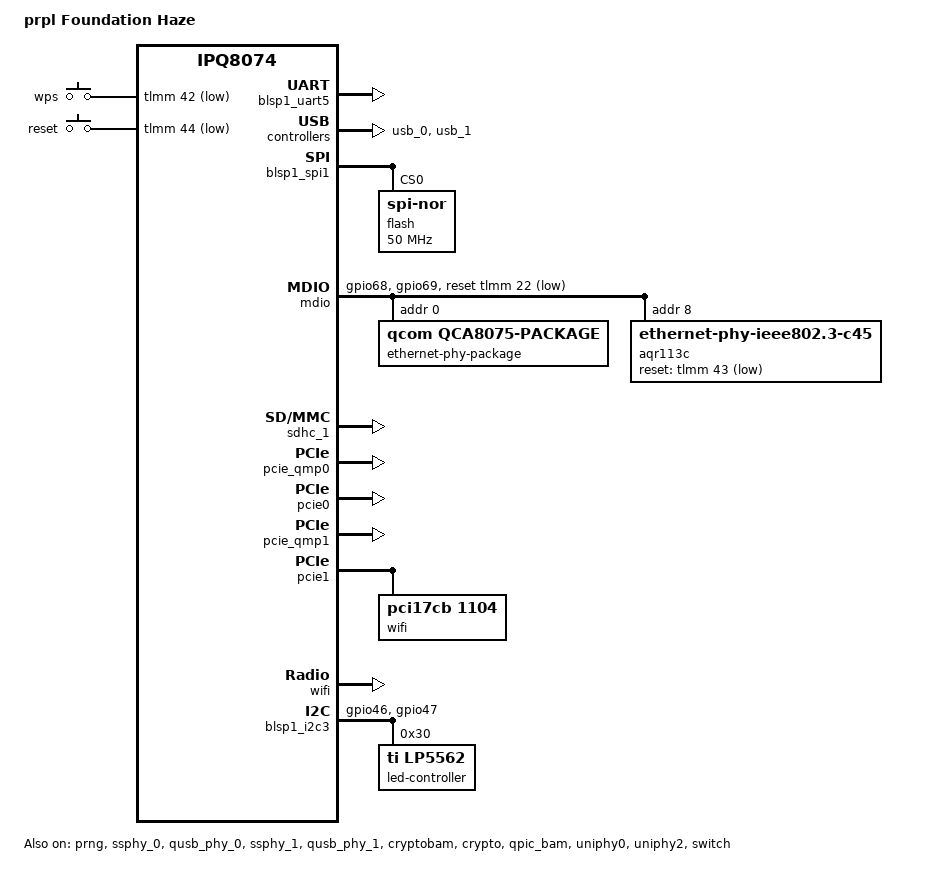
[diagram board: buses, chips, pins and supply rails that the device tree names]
// SPDX-License-Identifier: GPL-2.0-or-later OR MIT

/dts-v1/;

#include "ipq8074.dtsi"
#include "ipq8074-hk-cpu.dtsi"
#include "ipq8074-ess.dtsi"
#include <dt-bindings/gpio/gpio.h>
#include <dt-bindings/input/input.h>
#include <dt-bindings/leds/common.h>

/ {
	model = "prpl Foundation Haze";
	compatible = "prpl,haze", "qcom,ipq8074";

	aliases {
		serial0 = &blsp1_uart5;
		/* Aliases are required by U-Boot to patch MAC addresses */
		ethernet0 = &swport6;
		ethernet1 = &swport4;
		ethernet2 = &swport3;
		ethernet3 = &swport2;
		label-mac-device = &swport6;
		led-boot = &led_system_blue;
		led-failsafe = &led_system_red;
		led-running = &led_system_green;
		led-upgrade = &led_system_blue;
	};

	chosen {
		stdout-path = "serial0:115200n8";
	};

	keys {
		compatible = "gpio-keys";
		pinctrl-0 = <&button_pins>;
		pinctrl-names = "default";

		wps-button {
			label = "wps";
			gpios = <&tlmm 42 GPIO_ACTIVE_LOW>;
			linux,code = <KEY_WPS_BUTTON>;
		};

		reset-button {
			label = "reset";
			gpios = <&tlmm 44 GPIO_ACTIVE_LOW>;
			linux,code = <KEY_RESTART>;
		};
	};
};

&tlmm {
	mdio_pins: mdio-state {
		mdc-pins {
			pins = "gpio68";
			function = "mdc";
			drive-strength = <8>;
			bias-pull-up;
		};

		mdio-pins {
			pins = "gpio69";
			function = "mdio";
			drive-strength = <8>;
			bias-pull-up;
		};
	};

	button_pins: button-state {
		wps-pins {
			pins = "gpio42";
			function = "gpio";
			drive-strength = <8>;
			bias-pull-up;
		};

		rst-pins {
			pins = "gpio44";
			function = "gpio";
			drive-strength = <8>;
			bias-pull-up;
		};
	};

	i2c_3_pins: i2c-3-state {
		pins = "gpio46", "gpio47";
		function = "blsp2_i2c";
		drive-strength = <8>;
		bias-disable;
	};
};

&blsp1_uart5 {
	status = "okay";
};

&prng {
	status = "okay";
};

&ssphy_0 {
	status = "okay";
};

&qusb_phy_0 {
	status = "okay";
};

&ssphy_1 {
	status = "okay";
};

&qusb_phy_1 {
	status = "okay";
};

&usb_0 {
	status = "okay";
};

&usb_1 {
	status = "okay";
};

&cryptobam {
	status = "okay";
};

&crypto {
	status = "okay";
};

&qpic_bam {
	status = "okay";
};

&blsp1_spi1 { /* BLSP1 QUP1 */
	pinctrl-0 = <&spi_0_pins>;
	pinctrl-names = "default";
	status = "okay";

	flash@0 {
		reg = <0>;
		compatible = "jedec,spi-nor";
		spi-max-frequency = <50000000>;

		partitions {
			compatible = "qcom,smem-part";
		};
	};
};

&mdio {
	status = "okay";

	pinctrl-0 = <&mdio_pins>;
	pinctrl-names = "default";
	reset-gpios = <&tlmm 22 GPIO_ACTIVE_LOW>;

	ethernet-phy-package@0 {
		#address-cells = <1>;
		#size-cells = <0>;
		compatible = "qcom,qca8075-package";
		reg = <0>;

		qca8075_0: ethernet-phy@0 {
			compatible = "ethernet-phy-ieee802.3-c22";
			reg = <0>;
		};

		qca8075_1: ethernet-phy@1 {
			compatible = "ethernet-phy-ieee802.3-c22";
			reg = <1>;
		};

		qca8075_2: ethernet-phy@2 {
			compatible = "ethernet-phy-ieee802.3-c22";
			reg = <2>;
		};

		qca8075_3: ethernet-phy@3 {
			compatible = "ethernet-phy-ieee802.3-c22";
			reg = <3>;
		};
	};

	aqr113c: ethernet-phy@5 {
		compatible ="ethernet-phy-ieee802.3-c45";
		reg = <8>;
		reset-gpios = <&tlmm 43 GPIO_ACTIVE_LOW>;
	};
};

&sdhc_1 {
	status = "okay";

	vqmmc-supply = <&l11>;
};

&uniphy0 {
	status = "okay";
};

&uniphy2 {
	status = "okay";
};

&switch {
	status = "okay";

	ports {
		#address-cells = <1>;
		#size-cells = <0>;

		port@0 {
			reg = <0>;
			ethernet = <&edma>;
			phy-mode = "internal";

			fixed-link {
				speed = <1000>;
				full-duplex;
			};
		};

		swport1: port@1 {
			reg = <1>;
			label = "lan4";
			phy-handle = <&qca8075_0>;
			phy-mode = "psgmii";
			pcs-handle = <&uniphy0 0>;
			status = "disabled";
		};

		swport2: port@2 {
			reg = <2>;
			label = "lan3";
			phy-handle = <&qca8075_1>;
			phy-mode = "psgmii";
			pcs-handle = <&uniphy0 1>;
		};

		swport3: port@3 {
			reg = <3>;
			label = "lan2";
			phy-handle = <&qca8075_2>;
			phy-mode = "psgmii";
			pcs-handle = <&uniphy0 2>;
		};

		swport4: port@4 {
			reg = <4>;
			label = "lan1";
			phy-handle = <&qca8075_3>;
			phy-mode = "psgmii";
			pcs-handle = <&uniphy0 3>;
		};

		swport6: port@6 {
			reg = <6>;
			label = "wan";
			phy-handle = <&aqr113c>;
			phy-mode = "usxgmii";
			pcs-handle = <&uniphy2 0>;
		};
	};
};

&edma {
	status = "okay";
};

&pcie_qmp0 {
	status = "okay";
};

&pcie0 {
	status = "okay";

	perst-gpios = <&tlmm 58 GPIO_ACTIVE_LOW>;
};

&pcie_qmp1 {
	status = "okay";
};

&pcie1 {
	status = "okay";

	perst-gpios = <&tlmm 61 GPIO_ACTIVE_LOW>;

	pcie@0 {
		wifi@0,0 {
			status = "okay";

			/* ath11k has no DT compatible for PCI cards */
			compatible = "pci17cb,1104";
			reg = <0x00010000 0 0 0 0>;

			qcom,ath11k-calibration-variant = "prpl-Haze";
		};
	};
};

&wifi {
	status = "okay";

	qcom,ath11k-calibration-variant = "prpl-Haze";
};

&blsp1_i2c3{
	pinctrl-0 = <&i2c_3_pins>;
	pinctrl-names = "default";
	status = "okay";

	led-controller@30 {
		compatible = "ti,lp5562";
		reg = <0x30>;
		clock-mode = /bits/ 8 <2>;
		#address-cells = <1>;
		#size-cells = <0>;

		led_system_red: chan@0 {
			chan-name = "red";
			led-cur = /bits/ 8 <0x20>;
			max-cur = /bits/ 8 <0x60>;
			color = <LED_COLOR_ID_RED>;
			reg = <0>;
		};

		led_system_green: chan@1 {
			chan-name = "green";
			led-cur = /bits/ 8 <0x20>;
			max-cur = /bits/ 8 <0x60>;
			color = <LED_COLOR_ID_GREEN>;
			reg = <1>;
		};

		led_system_blue: chan@2 {
			chan-name = "blue";
			led-cur = /bits/ 8 <0x20>;
			max-cur = /bits/ 8 <0x60>;
			color = <LED_COLOR_ID_BLUE>;
			reg = <2>;
		};
	};
};
